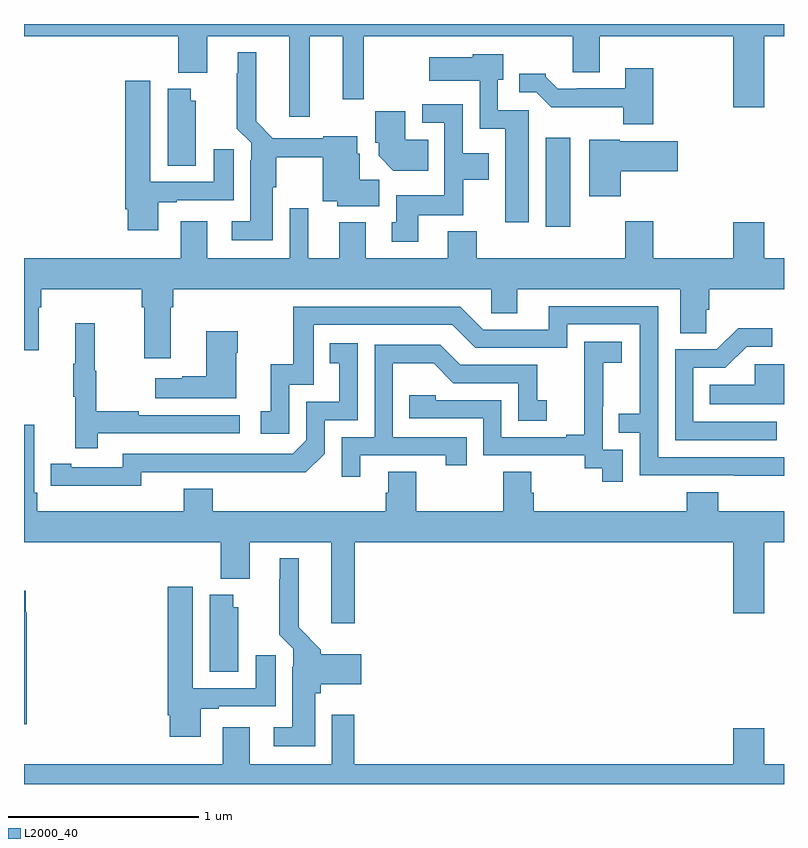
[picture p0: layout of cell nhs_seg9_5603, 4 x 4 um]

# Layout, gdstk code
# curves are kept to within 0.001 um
import gdstk
lib = gdstk.Library(unit=1e-6, precision=1e-09)
def R(c, l, rs):  # rectangles x0, y0, x1, y1
    for r in rs: c.add(gdstk.rectangle(r[:2], r[2:], *l))
def P(c, l, *ps):  # polygons
    for p in ps: c.add(gdstk.Polygon(p, *l))
L2000_40 = (2000, 40)

nhs_seg9_5603 = lib.new_cell('nhs_seg9_5603')
R(nhs_seg9_5603, L2000_40, [(439.745,1179.432,439.876,1179.901)])
P(nhs_seg9_5603, L2000_40, [(437,1180.436),(437.813,1180.436),(437.813,1180.244),(437.965,1180.244),(437.965,1180.436),(438.395,1180.436),(438.395,1180.011),(438.505,1180.011),(438.505,1180.436),(438.677,1180.436),(438.677,1180.104),(438.787,1180.104),(438.787,1180.436),(439.889,1180.436),(439.889,1180.246),(440.029,1180.246),(440.029,1180.436),(440.732,1180.436),(440.732,1180.062),(440.896,1180.062),(440.896,1180.436),(441,1180.436),(441,1180.5),(437,1180.5)],
  [(438.31,1179.642),(438.328,1179.642),(438.328,1179.799),(438.573,1179.799),(438.573,1179.566),(438.648,1179.566),(438.648,1179.542),(438.871,1179.542),(438.871,1179.68),(438.766,1179.68),(438.766,1179.816),(438.754,1179.816),(438.754,1179.91),(438.576,1179.91),(438.576,1179.9),(438.31,1179.9),(438.223,1179.988),(438.223,1180.351),(438.125,1180.351),(438.125,1180.241),(438.121,1180.241),(438.121,1179.95),(438.195,1179.876),(438.195,1179.782),(438.191,1179.782),(438.191,1179.463),(438.093,1179.463),(438.093,1179.362),(438.31,1179.362)],
  [(439.657,1180.047),(439.494,1180.047),(439.494,1180.206),(439.522,1180.206),(439.522,1180.342),(439.362,1180.342),(439.362,1180.324),(439.134,1180.324),(439.134,1180.202),(439.398,1180.202),(439.398,1179.95),(439.532,1179.95),(439.532,1179.456),(439.657,1179.456)],
  [(440.313,1180.267),(440.165,1180.267),(440.165,1180.161),(439.909,1180.161),(439.909,1180.158),(439.81,1180.158),(439.746,1180.222),(439.746,1180.237),(439.607,1180.237),(439.607,1180.14),(439.695,1180.14),(439.774,1180.062),(440.153,1180.062),(440.153,1179.972),(440.313,1179.972)],
  [(437.707,1179.561),(437.803,1179.561),(437.803,1179.573),(438.103,1179.573),(438.103,1179.841),(437.999,1179.841),(437.999,1179.669),(437.665,1179.669),(437.665,1180.201),(437.534,1180.201),(437.534,1179.526),(437.546,1179.526),(437.546,1179.414),(437.707,1179.414)],
  [(437.905,1180.095),(437.878,1180.095),(437.878,1180.159),(437.756,1180.159),(437.756,1179.754),(437.905,1179.754)],
  [(439.075,1179.494),(439.311,1179.494),(439.311,1179.68),(439.447,1179.68),(439.447,1179.82),(439.308,1179.82),(439.308,1180.077),(439.095,1180.077),(439.095,1179.981),(439.212,1179.981),(439.212,1179.598),(438.959,1179.598),(438.959,1179.456),(438.935,1179.456),(438.935,1179.354),(439.075,1179.354)],
  [(439.127,1179.892),(439.006,1179.892),(439.006,1180.042),(438.848,1180.042),(438.848,1179.876),(438.866,1179.876),(438.866,1179.806),(438.944,1179.728),(439.127,1179.728)],
  [(440.14,1179.725),(440.44,1179.725),(440.44,1179.883),(440.136,1179.883),(440.136,1179.892),(439.976,1179.892),(439.976,1179.594),(440.14,1179.594)],
  [(437.773,1179.008),(437.786,1179.008),(437.786,1179.104),(439.458,1179.104),(439.458,1178.977),(439.597,1178.977),(439.597,1179.104),(440.453,1179.104),(440.453,1178.872),(440.592,1178.872),(440.592,1178.995),(440.606,1178.995),(440.606,1179.104),(441,1179.104),(441,1179.268),(440.896,1179.268),(440.896,1179.457),(440.732,1179.457),(440.732,1179.268),(440.313,1179.268),(440.313,1179.463),(440.165,1179.463),(440.165,1179.268),(439.382,1179.268),(439.382,1179.409),(439.229,1179.409),(439.229,1179.268),(438.799,1179.268),(438.799,1179.457),(438.659,1179.457),(438.659,1179.268),(438.496,1179.268),(438.496,1179.529),(438.399,1179.529),(438.399,1179.268),(437.965,1179.268),(437.965,1179.463),(437.825,1179.463),(437.825,1179.268),(437,1179.268),(437,1178.784),(437.077,1178.784),(437.077,1179.008),(437.09,1179.008),(437.09,1179.104),(437.621,1179.104),(437.621,1179.008),(437.633,1179.008),(437.633,1178.742),(437.773,1178.742)],
  [(441,1178.22),(440.337,1178.22),(440.337,1179.015),(439.763,1179.015),(439.763,1178.892),(439.416,1178.892),(439.296,1179.012),(438.417,1179.012),(438.417,1178.71),(438.299,1178.71),(438.299,1178.463),(438.246,1178.463),(438.246,1178.343),(438.396,1178.343),(438.396,1178.601),(438.525,1178.601),(438.525,1178.916),(439.254,1178.916),(439.374,1178.796),(439.86,1178.796),(439.86,1178.919),(440.241,1178.919),(440.241,1178.45),(440.131,1178.45),(440.131,1178.349),(440.241,1178.349),(440.241,1178.124),(441,1178.123)],
  [(437.387,1178.346),(438.136,1178.346),(438.136,1178.442),(437.603,1178.442),(437.603,1178.462),(437.38,1178.462),(437.38,1178.676),(437.372,1178.676),(437.372,1178.926),(437.27,1178.926),(437.27,1178.713),(437.259,1178.713),(437.259,1178.539),(437.27,1178.539),(437.27,1178.268),(437.387,1178.268)],
  [(440.962,1178.406),(440.523,1178.406),(440.523,1178.691),(440.692,1178.691),(440.803,1178.802),(440.938,1178.802),(440.938,1178.9),(440.759,1178.9),(440.646,1178.787),(440.427,1178.787),(440.427,1178.31),(440.962,1178.31)],
  [(438.118,1178.771),(438.126,1178.771),(438.126,1178.884),(437.96,1178.884),(437.96,1178.645),(437.834,1178.645),(437.834,1178.635),(437.691,1178.635),(437.691,1178.531),(438.118,1178.531)],
  [(440.151,1178.259),(440.046,1178.259),(440.046,1178.489),(440.048,1178.489),(440.048,1178.717),(440.146,1178.717),(440.146,1178.827),(439.948,1178.827),(439.948,1178.621),(439.949,1178.621),(439.949,1178.338),(439.853,1178.338),(439.853,1178.325),(439.512,1178.325),(439.512,1178.52),(439.167,1178.52),(439.167,1178.547),(439.027,1178.547),(439.027,1178.424),(439.416,1178.424),(439.416,1178.229),(439.95,1178.229),(439.95,1178.161),(440.043,1178.161),(440.043,1178.091),(440.151,1178.091)],
  [(437.616,1178.142),(438.484,1178.141),(438.582,1178.238),(438.582,1178.415),(438.756,1178.415),(438.756,1178.821),(438.61,1178.821),(438.61,1178.715),(438.659,1178.715),(438.659,1178.511),(438.486,1178.511),(438.486,1178.31),(438.414,1178.238),(437.52,1178.238),(437.52,1178.166),(437.248,1178.166),(437.248,1178.186),(437.14,1178.186),(437.14,1178.07),(437.616,1178.069)],
  [(438.769,1178.229),(439.22,1178.229),(439.22,1178.178),(439.331,1178.178),(439.331,1178.325),(438.942,1178.325),(438.942,1178.714),(439.156,1178.714),(439.26,1178.61),(439.602,1178.61),(439.602,1178.412),(439.75,1178.412),(439.75,1178.521),(439.701,1178.521),(439.701,1178.706),(439.297,1178.706),(439.192,1178.811),(438.846,1178.811),(438.846,1178.325),(438.672,1178.325),(438.672,1178.118),(438.769,1178.118)],
  [(441,1178.71),(440.847,1178.71),(440.847,1178.602),(440.608,1178.602),(440.608,1178.498),(441,1178.498)],
  [(438.74,1177.772),(440.732,1177.772),(440.732,1177.398),(440.896,1177.398),(440.896,1177.772),(441,1177.772),(441,1177.936),(440.654,1177.936),(440.654,1178.035),(440.489,1178.035),(440.489,1177.936),(439.682,1177.936),(439.682,1178.034),(439.669,1178.034),(439.669,1178.144),(439.522,1178.144),(439.522,1177.936),(439.065,1177.936),(439.065,1178.144),(438.917,1178.144),(438.917,1178.034),(438.905,1178.034),(438.905,1177.936),(437.993,1177.936),(437.993,1178.053),(437.84,1178.053),(437.84,1177.936),(437.069,1177.936),(437.069,1178.032),(437.055,1178.032),(437.055,1178.392),(437,1178.392),(437,1177.772),(438.035,1177.772),(438.035,1177.58),(438.187,1177.58),(438.187,1177.772),(438.617,1177.772),(438.617,1177.347),(438.74,1177.347)],
  [(438.532,1176.978),(438.563,1176.978),(438.563,1177.025),(438.775,1177.025),(438.775,1177.183),(438.563,1177.183),(438.563,1177.206),(438.445,1177.324),(438.445,1177.687),(438.347,1177.687),(438.347,1177.577),(438.343,1177.577),(438.343,1177.286),(438.417,1177.212),(438.417,1177.118),(438.413,1177.118),(438.413,1176.799),(438.315,1176.799),(438.315,1176.698),(438.532,1176.698)],
  [(437.929,1176.897),(438.025,1176.897),(438.025,1176.909),(438.325,1176.909),(438.325,1177.177),(438.221,1177.177),(438.221,1177.005),(437.887,1177.005),(437.887,1177.537),(437.756,1177.537),(437.756,1176.862),(437.768,1176.862),(437.768,1176.75),(437.929,1176.75)],
  [(437.015,1177.403),(437.008,1177.403),(437.008,1177.516),(437,1177.516),(437,1176.815),(437.015,1176.815)],
  [(438.127,1177.431),(438.1,1177.431),(438.1,1177.495),(437.978,1177.495),(437.978,1177.09),(438.127,1177.09)],
  [(441,1176.604),(440.896,1176.604),(440.896,1176.793),(440.732,1176.793),(440.732,1176.604),(438.737,1176.604),(438.737,1176.865),(438.621,1176.865),(438.621,1176.604),(438.187,1176.604),(438.187,1176.799),(438.047,1176.799),(438.047,1176.604),(437,1176.604),(437,1176.5),(441,1176.5)])

lib.write_gds('nhs_seg9_5603.gds')
